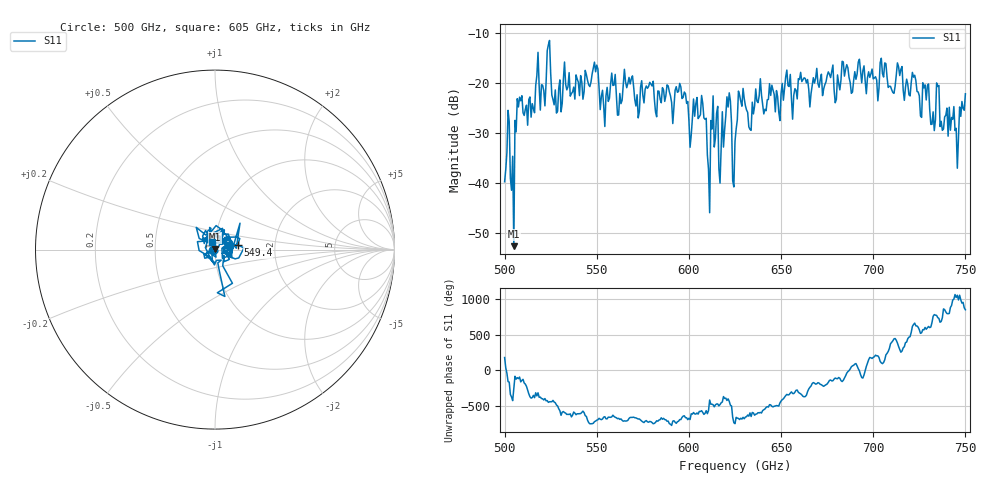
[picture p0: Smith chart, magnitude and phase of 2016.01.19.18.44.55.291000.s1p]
!Created with skrf (http://scikit-rf.org).
# GHz S RI R 50.0
!freq ReS11 ImS11
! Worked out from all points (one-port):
!   401 points, 500 GHz to 750 GHz, reference 50 ohm
!   lowest |S11| = -52.7 dB at 505 GHz (marker M1), VSWR 1.00, Z = 49.9 + j0.224 ohm
!   |S11| at or under -10 dB: start of sweep to end of sweep
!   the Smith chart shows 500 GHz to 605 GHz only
!   S11 on the Smith chart (normalised r, x): 500 GHz: 0.98, +0.00; 549.4 GHz: 1.29, +0.07; 605 GHz: 0.97, +0.08
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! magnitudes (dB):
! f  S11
! 500 GHz  -39.8
! 501.9 GHz  -25.5
! 505 GHz  -52.7
! 508.1 GHz  -22.8
! 520.6 GHz  -20.4
! 523.8 GHz  -12.4
! 527.5 GHz  -21.4
! 531.2 GHz  -24.1
! 549.4 GHz  -17.8
! 553.1 GHz  -21.5
! 558.8 GHz  -20.5
! 562.5 GHz  -22.1
! 566.2 GHz  -20.9
! 571.9 GHz  -22.4
! 593.8 GHz  -21.9
! 605 GHz  -27.1
! 611.2 GHz  -46.0
! 614.4 GHz  -31.0
! 617.5 GHz  -33.1
! 621.2 GHz  -24.8
! 625 GHz  -31.7
! 628.1 GHz  -23.7
! 632.5 GHz  -28.8
! 656.2 GHz  -27.2
! 687.5 GHz  -19.9
! 718.8 GHz  -20.3
! 745 GHz  -29.1
! 750 GHz  -22.2
